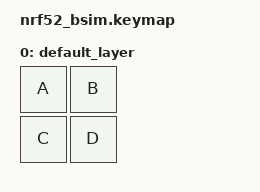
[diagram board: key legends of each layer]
/*
 * Copyright (c) 2026 amgskobo
 * SPDX-License-Identifier: MIT
 *
 * A pointing device on the peripheral moves at one steady speed, 3000
 * counts/s, and its frames reach the central 7.5 ms, 15 ms or under a
 * millisecond apart as the split link carries them. The gain must follow the
 * speed, not the arrival times: 1.4x here, so (24, 18) should come out near
 * (34, 25) once the first two frames have gone by at 1.0x.
 */

#include <behaviors.dtsi>
#include <dt-bindings/zmk/keys.h>

#include "shared.dtsi"

&kscan {
    /delete-property/ exit-after;
    events = <>;
};

&split_listener {
    status = "okay";
};

/ {
    keymap {
        compatible = "zmk,keymap";

        default_layer {
            bindings = <
            &kp A &kp B
            &kp C &kp D>;
        };
    };
};
